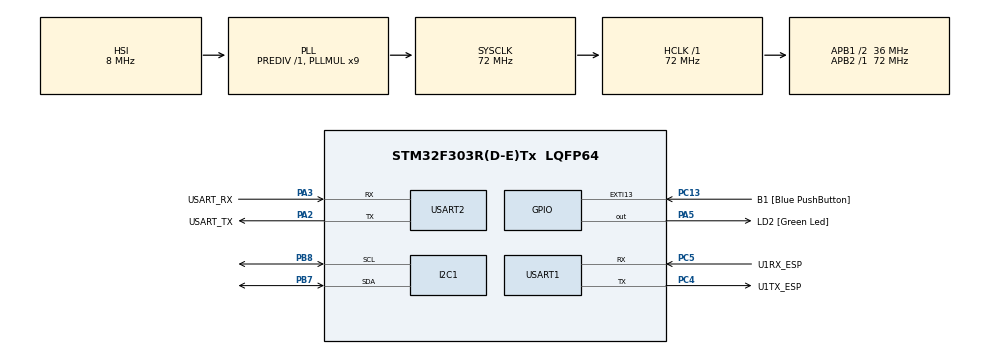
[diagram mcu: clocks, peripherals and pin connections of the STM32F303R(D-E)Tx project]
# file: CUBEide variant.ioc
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I2C1.Timing=0x00201D2B
Mcu.Family=STM32F3
Mcu.Name=STM32F303R(D-E)Tx
Mcu.Package=LQFP64
NVIC.PriorityGroup=NVIC_PRIORITYGROUP_0
PA13.GPIO_Label=TMS
PA13.Mode=Serial_Wire
PA13.Signal=SYS_JTMS-SWDIO
PA14.GPIO_Label=TCK
PA14.Mode=Serial_Wire
PA14.Signal=SYS_JTCK-SWCLK
PA2.GPIO_Label=USART_TX
PA2.GPIO_Mode=GPIO_MODE_AF_PP
PA2.GPIO_PuPd=GPIO_NOPULL
PA2.GPIO_Speed=GPIO_SPEED_FREQ_LOW
PA2.Mode=Asynchronous
PA2.Signal=USART2_TX
PA3.GPIO_Label=USART_RX
PA3.GPIO_Mode=GPIO_MODE_AF_PP
PA3.GPIO_PuPd=GPIO_NOPULL
PA3.GPIO_Speed=GPIO_SPEED_FREQ_LOW
PA3.Mode=Asynchronous
PA3.Signal=USART2_RX
PA5.GPIO_Label=LD2 [Green Led]
PA5.GPIO_Mode=GPIO_MODE_OUTPUT_PP
PA5.GPIO_PuPd=GPIO_NOPULL
PA5.GPIO_Speed=GPIO_SPEED_FREQ_LOW
PA5.Signal=GPIO_Output
PB3.GPIO_Label=SWO
PB3.Signal=SYS_JTDO-TRACESWO
PB7.Mode=I2C
PB7.Signal=I2C1_SDA
PB8.Mode=I2C
PB8.Signal=I2C1_SCL
PC13.GPIO_Label=B1 [Blue PushButton]
PC13.GPIO_ModeDefaultEXTI=GPIO_MODE_IT_FALLING
PC13.Signal=GPXTI13
PC14-OSC32_IN.Mode=LSE-External-Oscillator
PC14-OSC32_IN.Signal=RCC_OSC32_IN
PC15-OSC32_OUT.Mode=LSE-External-Oscillator
PC15-OSC32_OUT.Signal=RCC_OSC32_OUT
PC4.GPIO_Label=U1TX_ESP
PC4.Mode=Asynchronous
PC4.Signal=USART1_TX
PC5.GPIO_Label=U1RX_ESP
PC5.Mode=Asynchronous
PC5.Signal=USART1_RX
PF0-OSC_IN.Mode=HSE-External-Clock-Source
PF0-OSC_IN.Signal=RCC_OSC_IN
PF1-OSC_OUT.Signal=RCC_OSC_OUT
ProjectManager.HeapSize=0x200
ProjectManager.StackSize=0x400
ProjectManager.TargetToolchain=STM32CubeIDE
RCC.AHBFreq_Value=72000000
RCC.APB1CLKDivider=RCC_HCLK_DIV2
RCC.APB1Freq_Value=36000000
RCC.APB1TimFreq_Value=72000000
RCC.APB2Freq_Value=72000000
RCC.APB2TimFreq_Value=72000000
RCC.CortexFreq_Value=72000000
RCC.HCLKFreq_Value=72000000
RCC.HSE_VALUE=8000000
RCC.HSI_VALUE=8000000
RCC.PLLM=8
RCC.PLLMUL=RCC_PLL_MUL9
RCC.PLLN=336
RCC.PLLP=RCC_PLLP_DIV4
RCC.PLLQ=7
RCC.RCC_PLLsource_Clock_Source_FROM_HSE=RCC_HSE_PREDIV_DIV2
RCC.SYSCLKFreq_VALUE=72000000
RCC.SYSCLKSourceVirtual=RCC_SYSCLKSOURCE_PLLCLK
RCC.USBFreq_Value=72000000
USART1.VirtualMode-Asynchronous=VM_ASYNC
USART2.VirtualMode-Asynchronous=VM_ASYNC
board=NUCLEO-F303RE

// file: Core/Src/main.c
/* USER CODE BEGIN Header */
/**
  ******************************************************************************
  * @file           : main.c
  * @brief          : Main program body
  ******************************************************************************
  * @attention
  *
  * Copyright (c) 2025 STMicroelectronics.
  * All rights reserved.
  *
  * This software is licensed under terms that can be found in the LICENSE file
  * in the root directory of this software component.
  * If no LICENSE file comes with this software, it is provided AS-IS.
  *
  *Additional Credit:
  *https://github.com/AC-Tan/BENR3523_Assignment/blob/main/Detection/main.c				- Guidance on the general structure for LIS3DH part!
  *
  ******************************************************************************
  */
/* USER CODE END Header */
#include "main.h"

/* USER CODE BEGIN Includes */
#include <stdio.h>
#include <string.h>
#include <stdlib.h>

#include "knowledge.h"
#include "NanoEdgeAI.h"

float input_user_buffer[DATA_INPUT_USER * AXIS_NUMBER];

/* USER CODE END Includes */

/* USER CODE BEGIN PD */
#define LEARNING_ITERATIONS 80 //120 is too much, DEFAULT=70
//Using same declaration, referencing to the original data yield that I can do so.
#define LIS3DH_V_CHIP_ADDR (0x19<<1)	//SA0(=SD0 pin) = Vdd
#define LIS3DH_CTRL_REG1 0x20
#define LIS3DH_CTRL_REG4 0x23
#define LIS3DH_OUT_X_L 0x28
#define BUFFER_SIZE     DATA_INPUT_USER * AXIS_NUMBER
#define NB_AXES         3
#define CLASS_NUMBER	3

#define I2C1_SCL_PIN 	GPIO_PIN_8
#define I2C1_SDA_PIN 	GPIO_PIN_7
#define I2C1_SCL_PORT	GPIOB
#define I2C1_SDA_PORT	GPIOB
/* USER CODE END PD */

I2C_HandleTypeDef hi2c1;

UART_HandleTypeDef huart1;
UART_HandleTypeDef huart2;

/* USER CODE BEGIN PV */
uint8_t buf[32];
uint8_t buf2[64];
float x = 0;
float y = 0;
float z = 0;

uint8_t rxbuf[60];
uint8_t msg1[] = "Confidence: ";
uint8_t msg2[] = "Status:";
uint8_t msg3[] = "ESP32Connect";

uint8_t conf[3];	//Confidence value
//uint8_t stat[1];	//shows A or B, A for normal B for ERROR

//float acc_buffer[BUFFER_SIZE * NB_AXES]; //BUFFER_SIZE * NB_AXES	//Superceded by input_buffer from NEAI AD example
//uint16_t id_class = 0; // Point to id class, unused, AD classification is active
float output_class_buffer[CLASS_NUMBER]; // Buffer of class probabilities
/* USER CODE END PV */

void SystemClock_Config(void);
static void MX_GPIO_Init(void);
static void MX_USART2_UART_Init(void);
static void MX_I2C1_Init(void);
static void MX_USART1_UART_Init(void);
/* USER CODE BEGIN PFP */
//Source https://electronics.stackexchange.com/questions/351972/hal-i2c-hangs-cannot-be-solved-with-standard-routine-use-to-unlock-i2c
void I2C1_ClearBusyFlagErratum(I2C_HandleTypeDef *instance)
{
    GPIO_InitTypeDef GPIO_InitStruct;
    int timeout =100;
    int timeout_cnt=0;

    // 1. Clear PE bit.
    instance->Instance->CR1 &= ~(0x0001);

    //  2. Configure the SCL and SDA I/Os as General Purpose Output Open-Drain, High level (Write 1 to GPIOx_ODR).
    GPIO_InitStruct.Mode         = GPIO_MODE_OUTPUT_OD;
    GPIO_InitStruct.Alternate    = GPIO_AF4_I2C1;
    GPIO_InitStruct.Pull         = GPIO_PULLUP;
    GPIO_InitStruct.Speed        = GPIO_SPEED_FREQ_HIGH;

    GPIO_InitStruct.Pin          = I2C1_SCL_PIN;
    HAL_GPIO_Init(I2C1_SCL_PORT, &GPIO_InitStruct);
    HAL_GPIO_WritePin(I2C1_SCL_PORT, I2C1_SCL_PIN, GPIO_PIN_SET);

    GPIO_InitStruct.Pin          = I2C1_SDA_PIN;
    HAL_GPIO_Init(I2C1_SDA_PORT, &GPIO_InitStruct);
    HAL_GPIO_WritePin(I2C1_SDA_PORT, I2C1_SDA_PIN, GPIO_PIN_SET);

    // 3. Check SCL and SDA High level in GPIOx_IDR.
    while (GPIO_PIN_SET != HAL_GPIO_ReadPin(I2C1_SCL_PORT, I2C1_SCL_PIN))
    {
        timeout_cnt++;
        if(timeout_cnt>timeout)
            return;
    }

    while (GPIO_PIN_SET != HAL_GPIO_ReadPin(I2C1_SDA_PORT, I2C1_SDA_PIN))
    {
        //Move clock to release I2C
        HAL_GPIO_WritePin(I2C1_SCL_PORT, I2C1_SCL_PIN, GPIO_PIN_RESET);
        asm("nop");
        HAL_GPIO_WritePin(I2C1_SCL_PORT, I2C1_SCL_PIN, GPIO_PIN_SET);

        timeout_cnt++;
        if(timeout_cnt>timeout)
            return;
    }

    // 4. Configure the SDA I/O as General Purpose Output Open-Drain, Low level (Write 0 to GPIOx_ODR).
    HAL_GPIO_WritePin(I2C1_SDA_PORT, I2C1_SDA_PIN, GPIO_PIN_RESET);

    //  5. Check SDA Low level in GPIOx_IDR.
    while (GPIO_PIN_RESET != HAL_GPIO_ReadPin(I2C1_SDA_PORT, I2C1_SDA_PIN))
    {
        timeout_cnt++;
        if(timeout_cnt>timeout)
            return;
    }

    // 6. Configure the SCL I/O as General Purpose Output Open-Drain, Low level (Write 0 to GPIOx_ODR).
    HAL_GPIO_WritePin(I2C1_SCL_PORT, I2C1_SCL_PIN, GPIO_PIN_RESET);

    //  7. Check SCL Low level in GPIOx_IDR.
    while (GPIO_PIN_RESET != HAL_GPIO_ReadPin(I2C1_SCL_PORT, I2C1_SCL_PIN))
    {
        timeout_cnt++;
        if(timeout_cnt>timeout)
            return;
    }

    // 8. Configure the SCL I/O as General Purpose Output Open-Drain, High level (Write 1 to GPIOx_ODR).
    HAL_GPIO_WritePin(I2C1_SCL_PORT, I2C1_SCL_PIN, GPIO_PIN_SET);

    // 9. Check SCL High level in GPIOx_IDR.
    while (GPIO_PIN_SET != HAL_GPIO_ReadPin(I2C1_SCL_PORT, I2C1_SCL_PIN))
    {
        timeout_cnt++;
        if(timeout_cnt>timeout)
            return;
    }

    // 10. Configure the SDA I/O as General Purpose Output Open-Drain , High level (Write 1 to GPIOx_ODR).
    HAL_GPIO_WritePin(I2C1_SDA_PORT, I2C1_SDA_PIN, GPIO_PIN_SET);

    // 11. Check SDA High level in GPIOx_IDR.
    while (GPIO_PIN_SET != HAL_GPIO_ReadPin(I2C1_SDA_PORT, I2C1_SDA_PIN))
    {
        timeout_cnt++;
        if(timeout_cnt>timeout)
            return;
    }

    // 12. Configure the SCL and SDA I/Os as Alternate function Open-Drain.
    GPIO_InitStruct.Mode = GPIO_MODE_AF_OD;
    GPIO_InitStruct.Pull = GPIO_PULLUP;
    GPIO_InitStruct.Speed = GPIO_SPEED_FREQ_LOW;
    GPIO_InitStruct.Alternate = GPIO_AF4_I2C1;

    GPIO_InitStruct.Pin = I2C1_SCL_PIN;
    HAL_GPIO_Init(I2C1_SCL_PORT, &GPIO_InitStruct);

    GPIO_InitStruct.Pin = I2C1_SDA_PIN;
    HAL_GPIO_Init(I2C1_SDA_PORT, &GPIO_InitStruct);

    HAL_GPIO_WritePin(I2C1_SCL_PORT, I2C1_SCL_PIN, GPIO_PIN_SET);
    HAL_GPIO_WritePin(I2C1_SDA_PORT, I2C1_SDA_PIN, GPIO_PIN_SET);

    // 13. Set SWRST bit in I2Cx_CR1 register.
    instance->Instance->CR1 |= 0x8000;

    asm("nop");

    // 14. Clear SWRST bit in I2Cx_CR1 register.
    instance->Instance->CR1 &= ~0x8000;

    asm("nop");

    // 15. Enable the I2C peripheral by setting the PE bit in I2Cx_CR1 register
    instance->Instance->CR1 |= 0x0001;

    // Call initialization function.
    HAL_I2C_Init(instance);
}

void fill_buffer(float input_buffer[])
{
	buf[0] = LIS3DH_OUT_X_L | 0x80;	//I Would look into this further, but I have no idea how.
		  for (uint16_t i = 0; i < BUFFER_SIZE; i++) {
			  if (HAL_I2C_IsDeviceReady(&hi2c1, LIS3DH_V_CHIP_ADDR, 3, 100) == 0) { // New data is available
				  buf[0] = LIS3DH_OUT_X_L | 0x80;
				  HAL_I2C_Master_Transmit(&hi2c1, LIS3DH_V_CHIP_ADDR, buf, 1, HAL_MAX_DELAY);
		    	  HAL_I2C_Master_Receive(&hi2c1, LIS3DH_V_CHIP_ADDR, buf, 6, HAL_MAX_DELAY);
		    	  x = buf[1] << 8 | buf[0];
		    	  y = buf[3] << 8 | buf[2];HAL_UART_Transmit(&huart2, buf, strlen(( char*)buf), HAL_MAX_DELAY);
		    	  z = buf[5] << 8 | buf[4];
		          input_buffer[NB_AXES * i] = x;
		          input_buffer[(NB_AXES * i) + 1] = y;
		          input_buffer[(NB_AXES * i) + 2] = z;
			  } else {
		    	  i--; // New data not ready, wait, for loop can be controlled like this ? Yoink!
		      }
		  }
}

void transmit(int input1, int input2) {
	uint8_t stat1[] = "A";
	uint8_t stat2[] = "B";

	char tx1[3];
	sprintf(tx1, "%d", input1),

	//Might need to change this based on how arduino behaves.
	HAL_UART_Transmit(&huart2, msg1, sizeof(msg1), HAL_MAX_DELAY);
	//HAL_UART_Transmit(&huart1, , sizeof(msg1), HAL_MAX_DELAY);
	HAL_UART_Transmit(&huart2, (uint8_t *)tx1, strlen(tx1), HAL_MAX_DELAY);
	//HAL_UART_Transmit(&huart1, msg1, sizeof(msg1), HAL_MAX_DELAY);
	HAL_UART_Transmit(&huart2, msg2, sizeof(msg2), HAL_MAX_DELAY);
	//HAL_UART_Transmit(&huart1, msg1, sizeof(msg1), HAL_MAX_DELAY);
	if(input1==1) {
	HAL_UART_Transmit(&huart2, stat1, sizeof(stat1), HAL_MAX_DELAY);
	}
	else {
	HAL_UART_Transmit(&huart2, stat2, sizeof(stat2), HAL_MAX_DELAY);
	}
	//HAL_UART_Transmit(&huart1, msg1, sizeof(msg1), HAL_MAX_DELAY);
}

/* USER CODE END PFP */

int main(void)
{

  /* USER CODE BEGIN 1 */
	enum neai_state error_code = neai_anomalydetection_init();
	uint8_t similarity = 0;

	if(error_code != NEAI_OK) {
		//This shows somethting bad happened (wrong board or wrong lib)
		sprintf((char*)buf, "ErrorTx NanoEdge AI\n");
		HAL_UART_Transmit(&huart2, buf, strlen((char*)buf), HAL_MAX_DELAY);
	}

  /* USER CODE END 1 */

  /* MCU Configuration--------------------------------------------------------*/

  /* Reset of all peripherals, Initializes the Flash interface and the Systick. */
  HAL_Init();

  /* Configure the system clock */
  SystemClock_Config();

  /* Initialize all configured peripherals */
  MX_GPIO_Init();
  MX_USART2_UART_Init();
  MX_I2C1_Init();
  MX_USART1_UART_Init();
  /* USER CODE BEGIN 2 */

  HAL_StatusTypeDef ret;

  	HAL_Delay(1999); //10 seconds delay to allow user to connect things.

  	I2C1_ClearBusyFlagErratum(&hi2c1);
/*
  	HAL_UART_Transmit(&huart1, msg3, sizeof(msg3), 1500);		//Send it to the USB serial.

	while(!HAL_UART_Receive(&huart1, rx_buff, 10, 1000)==HAL_OK) //Nothing happening ? STOP THE WHOLE THING LMAO
	{}

	if(HAL_UART_Receive(&huart1, rx_buff, 10, 1000)==HAL_OK) //if transfer is successful
	{
		//__NOP(); //You need to toggle a breakpoint on this line!
		if(rx_buff == (uint8_t) "SUCCESS");{
			HAL_UART_Transmit(&huart2, rx_buff, 10, 1000);		//Send it to the USB serial.
		}
	}
*/

    buf[0] = LIS3DH_CTRL_REG1;
    buf[1] = 0x97;
    ret = HAL_I2C_Master_Transmit(&hi2c1, LIS3DH_V_CHIP_ADDR, buf, 2, HAL_MAX_DELAY);
    if ( ret != HAL_OK ) {
  	  sprintf((char*)buf,"ErrorTx CTRL_REG1\n");	//TODO: CONFIRM THIS IS NEEDED
  	  HAL_UART_Transmit(&huart2, buf, strlen(( char*)buf), HAL_MAX_DELAY);
    }

    buf[0] = LIS3DH_CTRL_REG4;
    buf[1] = 0x08;
    ret = HAL_I2C_Master_Transmit(&hi2c1, LIS3DH_V_CHIP_ADDR, buf, 2, HAL_MAX_DELAY);
    if ( ret != HAL_OK ) {
  	  sprintf((char*)buf,"ErrorTx CTRL_REG4\n");	//TODO: CONFIRM THIS IS NEEDED
  	  HAL_UART_Transmit(&huart2, buf, strlen(( char*)buf), HAL_MAX_DELAY);
    }

    for (uint16_t iteration = 0; iteration < LEARNING_ITERATIONS ; iteration++) {
    	fill_buffer(input_user_buffer);
    	neai_anomalydetection_learn(input_user_buffer);
    }

    int statc = 1;
  /* USER CODE END 2 */

  /* Infinite loop */
  /* USER CODE BEGIN WHILE */
  while (1)
  {
	  /* Getting fresh accelerometer data, code migrated into fill_buffer */
	  /*buf[0] = LIS3DH_OUT_X_L | 0x80;	//I Would look into this further, but I have no idea how.
	  for (uint16_t i = 0; i < BUFFER_SIZE; i++) {
		  if (HAL_I2C_IsDeviceReady(&hi2c1, LIS3DH_V_CHIP_ADDR, 3, 100) == 0) { // New data is available
			  buf[0] = LIS3DH_OUT_X_L | 0x80;
			  HAL_I2C_Master_Transmit(&hi2c1, LIS3DH_V_CHIP_ADDR, buf, 1, HAL_MAX_DELAY);
			  HAL_I2C_Master_Receive(&hi2c1, LIS3DH_V_CHIP_ADDR, buf, 6, HAL_MAX_DELAY);
			  x = buf[1] << 8 | buf[0];
			  y = buf[3] << 8 | buf[2];
			  z = buf[5] << 8 | buf[4];
			  acc_buffer[NB_AXES * i] = x;
			  acc_buffer[(NB_AXES * i) + 1] = y;
			  acc_buffer[(NB_AXES * i) + 2] = z;
		  } else {
			  i--; // New data not ready, wait, for loop can be controlled like this ? Yoink!
		  }
	   }
	   */

	  fill_buffer(input_user_buffer);
	  neai_anomalydetection_detect(input_user_buffer, &similarity);	//See how similar the data get is to the

	  if (similarity > 70) {
		  //Normal State Operation
		  statc = 1;
	  }
	  else {
		  //Abnormal State Operation
		  statc = 2;
	  }

	  transmit(similarity,statc);
    /* USER CODE END WHILE */

  }
}

void SystemClock_Config(void)
{
  RCC_OscInitTypeDef RCC_OscInitStruct = {0};
  RCC_ClkInitTypeDef RCC_ClkInitStruct = {0};
  RCC_PeriphCLKInitTypeDef PeriphClkInit = {0};

  /** Initializes the RCC Oscillators according to the specified parameters
  * in the RCC_OscInitTypeDef structure.
  */
  RCC_OscInitStruct.OscillatorType = RCC_OSCILLATORTYPE_HSI;
  RCC_OscInitStruct.HSIState = RCC_HSI_ON;
  RCC_OscInitStruct.HSICalibrationValue = RCC_HSICALIBRATION_DEFAULT;
  RCC_OscInitStruct.PLL.PLLState = RCC_PLL_ON;
  RCC_OscInitStruct.PLL.PLLSource = RCC_PLLSOURCE_HSI;
  RCC_OscInitStruct.PLL.PLLMUL = RCC_PLL_MUL9;
  RCC_OscInitStruct.PLL.PREDIV = RCC_PREDIV_DIV1;
  if (HAL_RCC_OscConfig(&RCC_OscInitStruct) != HAL_OK)
  {
    Error_Handler();
  }

  /** Initializes the CPU, AHB and APB buses clocks
  */
  RCC_ClkInitStruct.ClockType = RCC_CLOCKTYPE_HCLK|RCC_CLOCKTYPE_SYSCLK
                              |RCC_CLOCKTYPE_PCLK1|RCC_CLOCKTYPE_PCLK2;
  RCC_ClkInitStruct.SYSCLKSource = RCC_SYSCLKSOURCE_PLLCLK;
  RCC_ClkInitStruct.AHBCLKDivider = RCC_SYSCLK_DIV1;
  RCC_ClkInitStruct.APB1CLKDivider = RCC_HCLK_DIV2;
  RCC_ClkInitStruct.APB2CLKDivider = RCC_HCLK_DIV1;

  if (HAL_RCC_ClockConfig(&RCC_ClkInitStruct, FLASH_LATENCY_2) != HAL_OK)
  {
    Error_Handler();
  }
  PeriphClkInit.PeriphClockSelection = RCC_PERIPHCLK_USART1|RCC_PERIPHCLK_USART2
                              |RCC_PERIPHCLK_I2C1;
  PeriphClkInit.Usart1ClockSelection = RCC_USART1CLKSOURCE_PCLK2;
  PeriphClkInit.Usart2ClockSelection = RCC_USART2CLKSOURCE_PCLK1;
  PeriphClkInit.I2c1ClockSelection = RCC_I2C1CLKSOURCE_HSI;
  if (HAL_RCCEx_PeriphCLKConfig(&PeriphClkInit) != HAL_OK)
  {
    Error_Handler();
  }
}

static void MX_I2C1_Init(void)
{

  hi2c1.Instance = I2C1;
  hi2c1.Init.Timing = 0x00201D2B;
  hi2c1.Init.OwnAddress1 = 0;
  hi2c1.Init.AddressingMode = I2C_ADDRESSINGMODE_7BIT;
  hi2c1.Init.DualAddressMode = I2C_DUALADDRESS_DISABLE;
  hi2c1.Init.OwnAddress2 = 0;
  hi2c1.Init.OwnAddress2Masks = I2C_OA2_NOMASK;
  hi2c1.Init.GeneralCallMode = I2C_GENERALCALL_DISABLE;
  hi2c1.Init.NoStretchMode = I2C_NOSTRETCH_DISABLE;
  if (HAL_I2C_Init(&hi2c1) != HAL_OK)
  {
    Error_Handler();
  }

  /** Configure Analogue filter
  */
  if (HAL_I2CEx_ConfigAnalogFilter(&hi2c1, I2C_ANALOGFILTER_ENABLE) != HAL_OK)
  {
    Error_Handler();
  }

  /** Configure Digital filter
  */
  if (HAL_I2CEx_ConfigDigitalFilter(&hi2c1, 0) != HAL_OK)
  {
    Error_Handler();
  }

}

static void MX_USART1_UART_Init(void)
{

  huart1.Instance = USART1;
  huart1.Init.BaudRate = 38400;
  huart1.Init.WordLength = UART_WORDLENGTH_8B;
  huart1.Init.StopBits = UART_STOPBITS_1;
  huart1.Init.Parity = UART_PARITY_NONE;
  huart1.Init.Mode = UART_MODE_TX_RX;
  huart1.Init.HwFlowCtl = UART_HWCONTROL_NONE;
  huart1.Init.OverSampling = UART_OVERSAMPLING_16;
  huart1.Init.OneBitSampling = UART_ONE_BIT_SAMPLE_DISABLE;
  huart1.AdvancedInit.AdvFeatureInit = UART_ADVFEATURE_NO_INIT;
  if (HAL_UART_Init(&huart1) != HAL_OK)
  {
    Error_Handler();
  }

}

static void MX_USART2_UART_Init(void)
{

  huart2.Instance = USART2;
  huart2.Init.BaudRate = 38400;
  huart2.Init.WordLength = UART_WORDLENGTH_8B;
  huart2.Init.StopBits = UART_STOPBITS_1;
  huart2.Init.Parity = UART_PARITY_NONE;
  huart2.Init.Mode = UART_MODE_TX_RX;
  huart2.Init.HwFlowCtl = UART_HWCONTROL_NONE;
  huart2.Init.OverSampling = UART_OVERSAMPLING_16;
  huart2.Init.OneBitSampling = UART_ONE_BIT_SAMPLE_DISABLE;
  huart2.AdvancedInit.AdvFeatureInit = UART_ADVFEATURE_NO_INIT;
  if (HAL_UART_Init(&huart2) != HAL_OK)
  {
    Error_Handler();
  }

}

static void MX_GPIO_Init(void)
{
  GPIO_InitTypeDef GPIO_InitStruct = {0};

  /* GPIO Ports Clock Enable */
  __HAL_RCC_GPIOC_CLK_ENABLE();
  __HAL_RCC_GPIOF_CLK_ENABLE();
  __HAL_RCC_GPIOA_CLK_ENABLE();
  __HAL_RCC_GPIOB_CLK_ENABLE();

  /*Configure GPIO pin Output Level */
  HAL_GPIO_WritePin(LD2_GPIO_Port, LD2_Pin, GPIO_PIN_RESET);

  /*Configure GPIO pin : B1_Pin */
  GPIO_InitStruct.Pin = B1_Pin;
  GPIO_InitStruct.Mode = GPIO_MODE_IT_FALLING;
  GPIO_InitStruct.Pull = GPIO_NOPULL;
  HAL_GPIO_Init(B1_GPIO_Port, &GPIO_InitStruct);

  /*Configure GPIO pin : LD2_Pin */
  GPIO_InitStruct.Pin = LD2_Pin;
  GPIO_InitStruct.Mode = GPIO_MODE_OUTPUT_PP;
  GPIO_InitStruct.Pull = GPIO_NOPULL;
  GPIO_InitStruct.Speed = GPIO_SPEED_FREQ_LOW;
  HAL_GPIO_Init(LD2_GPIO_Port, &GPIO_InitStruct);

}

void Error_Handler(void)
{
  __disable_irq();
  while (1)
  {
  }
}
